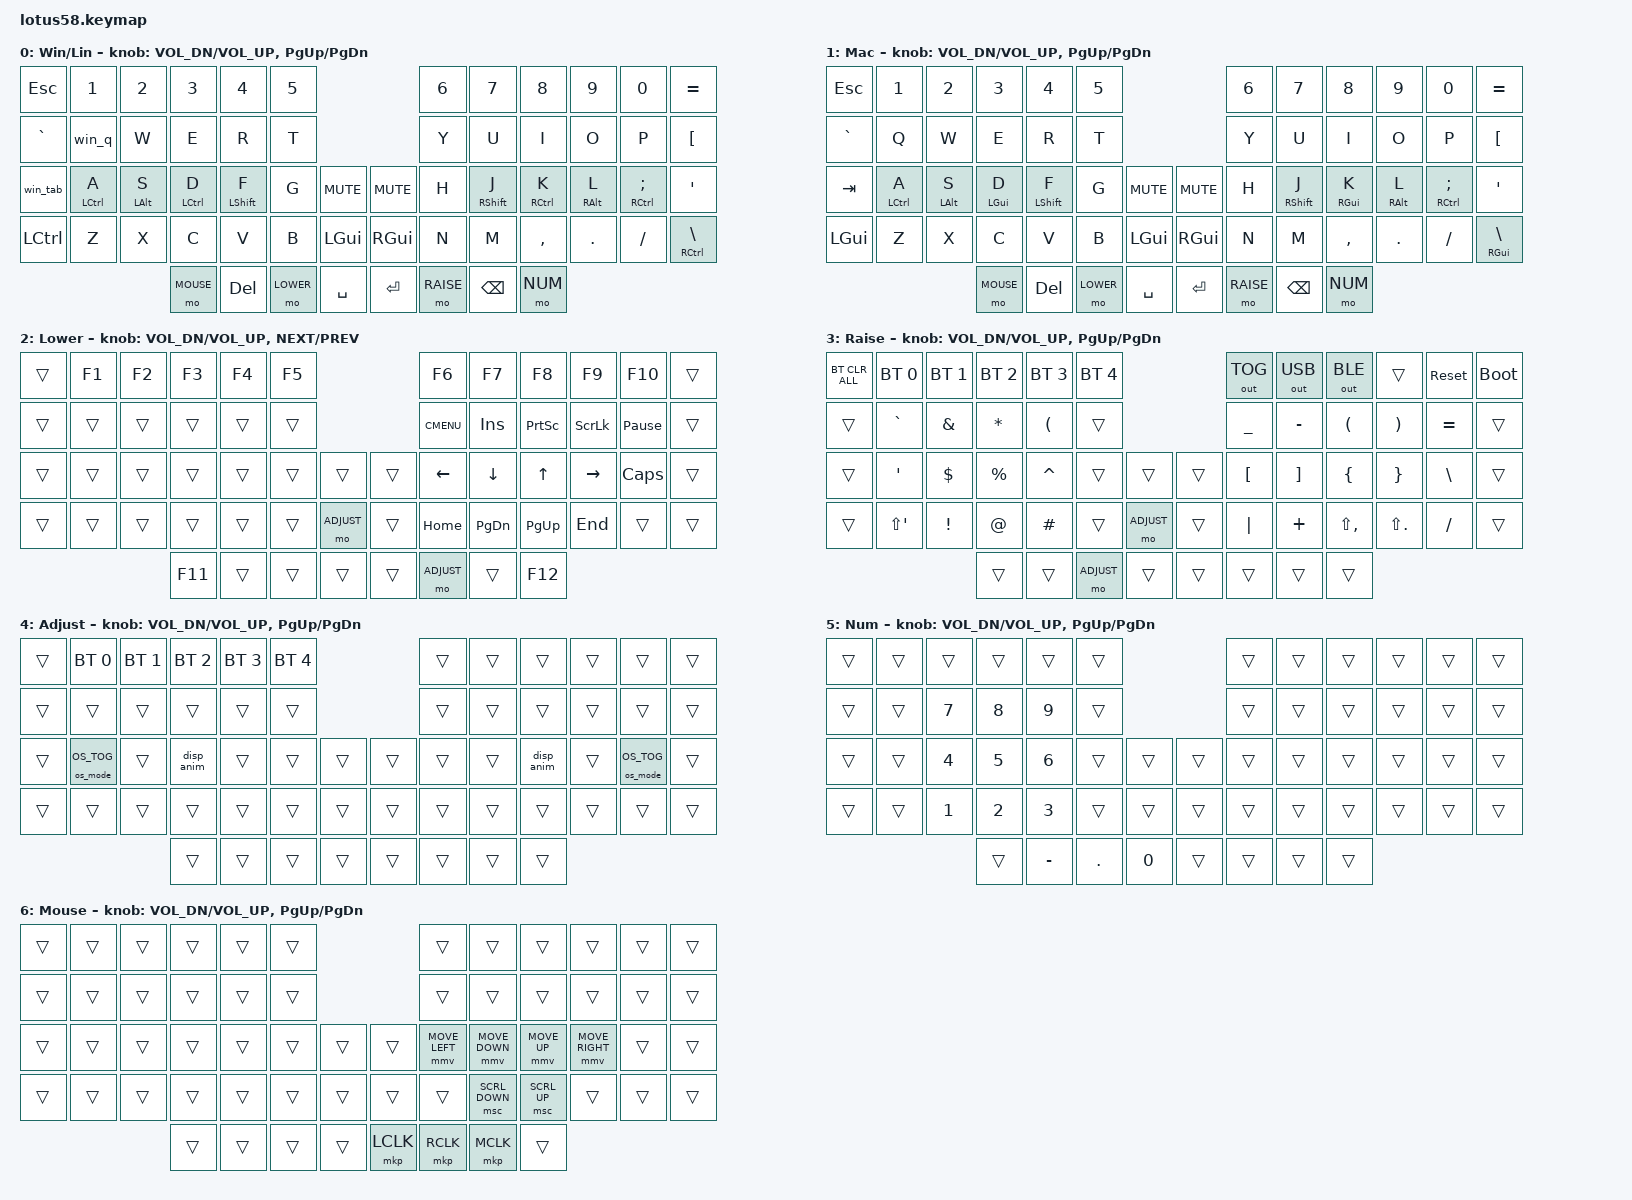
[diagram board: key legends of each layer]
/*
 * Copyright (c) 2022 The ZMK Contributors
 *
 * SPDX-License-Identifier: MIT
 */

#include <behaviors.dtsi>
#include <dt-bindings/zmk/keys.h>
#include <dt-bindings/zmk/bt.h>
#include <dt-bindings/zmk/outputs.h>
#include <dt-bindings/zmk/pointing.h>
#include <dt-bindings/os_mode.h>

#define DEFAULT 0
#define MAC     1
#define LOWER   2
#define RAISE   3
#define ADJUST  4
#define NUM     5
#define MOUSE   6

/ {
    behaviors {
        hml: homerow_mod_left {
            compatible = "zmk,behavior-hold-tap";
            #binding-cells = <2>;
            tapping-term-ms = <200>;
            quick-tap-ms = <125>;
            require-prior-idle-ms = <100>;
            flavor = "balanced";
            hold-trigger-on-release;
            hold-trigger-key-positions = <6 7 8 9 10 11 18 19 20 21 22 23 31 32 33 34 35 36 37 45 46 47 48 49 50 51 52 53 54 55 56 57 58 59>;
            bindings = <&kp>, <&kp>;
        };

        hmr: homerow_mod_right {
            compatible = "zmk,behavior-hold-tap";
            #binding-cells = <2>;
            tapping-term-ms = <200>;
            quick-tap-ms = <125>;
            require-prior-idle-ms = <100>;
            flavor = "balanced";
            hold-trigger-on-release;
            hold-trigger-key-positions = <0 1 2 3 4 5 12 13 14 15 16 17 24 25 26 27 28 29 30 38 39 40 41 42 43 44 52 53 54 55 56 57 58 59>;
            bindings = <&kp>, <&kp>;
        };
    };

    behaviors {
        // Mac/Win mode saved per connection (each BT profile, and USB).
        // The Mac layer follows the active profile automatically, also after a reboot.
        // See src/os_mode.c.
        os_mode: os_mode {
            compatible = "zmk,behavior-os-mode";
            #binding-cells = <1>;
            mac-layer = <MAC>;
        };

        // nice!view animation mode on/off, saved in flash. See src/display_anim.c
        // and nice_view/widgets/anim.c.
        disp_anim: display_anim {
            compatible = "zmk,behavior-display-anim";
            #binding-cells = <0>;
        };

        // Alt+Tab app switcher (zmk-tri-state module, see config/west.yml).
        // First press: Alt down + Tab. Further presses: Tab (Alt stays down).
        // Pressing or releasing any other key (e.g. letting go of K) releases Alt.
        // F and J (Shift) are ignored so Shift+Tab steps backwards.
        alt_tab: alt_tab {
            compatible = "zmk,behavior-tri-state";
            #binding-cells = <0>;
            bindings = <&kt LALT>, <&kp TAB>, <&kt LALT>;
            ignored-key-positions = <28 33>;
        };

        // Win mode Tab (TAB* in the diagram below): with Ctrl held (D/K, the Mac Cmd positions) it becomes the
        // Alt+Tab switcher, matching Cmd+Tab on the Mac. Ctrl is hidden from the host
        // while Tab is sent. Plain Tab is unchanged.
        win_tab: win_tab {
            compatible = "zmk,behavior-mod-morph";
            #binding-cells = <0>;
            bindings = <&kp TAB>, <&alt_tab>;
            mods = <(MOD_LCTL|MOD_RCTL)>;
        };

        // Win mode Q (Q* in the diagram below): Ctrl+Q sends Alt+F4 (close the app),
        // matching Cmd+Q on the Mac. Plain Q is unchanged.
        win_q: win_q {
            compatible = "zmk,behavior-mod-morph";
            #binding-cells = <0>;
            bindings = <&kp Q>, <&kp LA(F4)>;
            mods = <(MOD_LCTL|MOD_RCTL)>;
        };
    };

    keymap {
        compatible = "zmk,keymap";

        default_layer {
            display-name = "Win/Lin";
// ┌─────────┬─────┬─────┬─────┬──────────┬─────┐                            ┌─────┬──────────┬──────────┬──────────┬──────────┬────────┐
// │   ESC   │  1  │  2  │  3  │    4     │  5  │                            │  6  │    7     │    8     │    9     │    0     │   =    │
// ├─────────┼─────┼─────┼─────┼──────────┼─────┤                            ├─────┼──────────┼──────────┼──────────┼──────────┼────────┤
// │    `    │ Q*  │  W  │  E  │    R     │  T  │                            │  Y  │    U     │    I     │    O     │    P     │   [    │
// ├─────────┼─────┼─────┼─────┼──────────┼─────┼──────────┐  ┌─────────────┼─────┼──────────┼──────────┼──────────┼──────────┼────────┤
// │  TAB*   │CTL/A│ALT/S│CTL/D│  SHF/F  │  G  │   MUTE   │  │    MUTE     │  H  │  SHF/J  │  CTL/K  │  ALT/L  │  CTL/;  │   '    │
// ├─────────┼─────┼─────┼─────┼──────────┼─────┼──────────┤  ├─────────────┼─────┼──────────┼──────────┼──────────┼──────────┼────────┤
// │  LCTRL  │  Z  │  X  │  C  │    V     │  B  │   LGUI   │  │    RGUI     │  N  │    M     │    ,     │    .     │    /     │ RCTL/\ │
// └─────────┴─────┴─────┴─────┴──────────┴─────┴──────────┘  └─────────────┴─────┴──────────┴──────────┴──────────┴──────────┴────────┘
//                     ┌──────┬──────┬───────┬────────┐      ┌──────┬───────┬──────┬──────┐
//                     │MOUSE │ DEL  │ LOWER │  SPC   │      │ ENT  │ RAISE │ BSPC │ NUM  │
//                     └──────┴──────┴───────┴────────┘      └──────┴───────┴──────┴──────┘
            bindings = <
&kp ESC    &kp N1        &kp N2       &kp N3        &kp N4        &kp N5                                   &kp N6  &kp N7        &kp N8        &kp N9       &kp N0          &kp EQUAL
&kp GRAVE  &win_q        &kp W        &kp E         &kp R         &kp T                                    &kp Y   &kp U         &kp I         &kp O        &kp P           &kp LBKT
&win_tab   &hml LCTRL A  &hml LALT S  &hml LCTRL D  &hml LSHFT F  &kp G   &kp C_MUTE    &kp C_MUTE        &kp H   &hmr RSHFT J  &hmr RCTRL K  &hmr RALT L  &hmr RCTRL SEMI &kp SQT
&kp LCTRL  &kp Z         &kp X        &kp C         &kp V         &kp B   &kp LGUI       &kp RGUI          &kp N   &kp M         &kp COMMA     &kp DOT      &kp FSLH        &mt RCTRL BSLH
                                       &mo MOUSE &kp DEL   &mo LOWER  &kp SPACE    &kp RET  &mo RAISE  &kp BSPC  &mo NUM
            >;
            sensor-bindings = <&inc_dec_kp C_VOL_DN C_VOL_UP &inc_dec_kp PG_UP PG_DN>;
        };

        mac_layer {
            display-name = "Mac";
// CAGS order: A=Ctl, S=Alt, D=GUI, F=Shft (left); J=Shft, K=GUI, L=Alt, ;=Ctl (right).
// Bottom-left corner: LGUI. Thumbs: LCTRL (was LGUI), RCTRL (was RGUI). Bottom-right mod-tap: RGUI/\.
// ┌─────────┬─────┬─────┬─────┬──────────┬─────┐                            ┌─────┬──────────┬──────────┬──────────┬──────────┬────────┐
// │   ESC   │  1  │  2  │  3  │    4     │  5  │                            │  6  │    7     │    8     │    9     │    0     │   =    │
// ├─────────┼─────┼─────┼─────┼──────────┼─────┤                            ├─────┼──────────┼──────────┼──────────┼──────────┼────────┤
// │    `    │  Q  │  W  │  E  │    R     │  T  │                            │  Y  │    U     │    I     │    O     │    P     │   [    │
// ├─────────┼─────┼─────┼─────┼──────────┼─────┼──────────┐  ┌─────────────┼─────┼──────────┼──────────┼──────────┼──────────┼────────┤
// │   TAB   │CTL/A│ALT/S│GUI/D│  SHF/F  │  G  │   MUTE   │  │    MUTE     │  H  │  SHF/J  │  GUI/K  │  ALT/L  │  CTL/;  │   '    │
// ├─────────┼─────┼─────┼─────┼──────────┼─────┼──────────┤  ├─────────────┼─────┼──────────┼──────────┼──────────┼──────────┼────────┤
// │  LGUI   │  Z  │  X  │  C  │    V     │  B  │   LGUI   │  │    RGUI     │  N  │    M     │    ,     │    .     │    /     │ RGUI/\ │
// └─────────┴─────┴─────┴─────┴──────────┴─────┴──────────┘  └─────────────┴─────┴──────────┴──────────┴──────────┴──────────┴────────┘
//                     ┌───────┬──────┬───────┬────────┐      ┌──────┬───────┬──────┬───────┐
//                     │ MOUSE │ DEL  │ LOWER │  SPC   │      │ ENT  │ RAISE │ BSPC │  NUM  │
//                     └───────┴──────┴───────┴────────┘      └──────┴───────┴──────┴───────┘
            bindings = <
&kp ESC    &kp N1         &kp N2       &kp N3       &kp N4        &kp N5                                   &kp N6  &kp N7        &kp N8       &kp N9       &kp N0           &kp EQUAL
&kp GRAVE  &kp Q          &kp W        &kp E        &kp R         &kp T                                    &kp Y   &kp U         &kp I        &kp O        &kp P            &kp LBKT
&kp TAB    &hml LCTRL A   &hml LALT S  &hml LGUI D  &hml LSHFT F  &kp G   &kp C_MUTE    &kp C_MUTE        &kp H   &hmr RSHFT J  &hmr RGUI K  &hmr RALT L  &hmr RCTRL SEMI  &kp SQT
&kp LGUI   &kp Z          &kp X        &kp C        &kp V         &kp B   &kp LGUI       &kp RGUI          &kp N   &kp M         &kp COMMA    &kp DOT      &kp FSLH         &mt RGUI BSLH
                                        &mo MOUSE  &kp DEL   &mo LOWER  &kp SPACE    &kp RET  &mo RAISE  &kp BSPC  &mo NUM
            >;
            sensor-bindings = <&inc_dec_kp C_VOL_DN C_VOL_UP &inc_dec_kp PG_UP PG_DN>;
        };

        lower_layer {
            display-name = "Lower";
// Left side transparent (falls through to default alpha keys).
// Right side: HJKL arrows on home row, Home/PgDn/PgUp/End on Z row.
// ┌─────────┬─────┬─────┬─────┬─────┬─────┐                            ┌───────┬──────┬───────┬──────┬───────┬────────┐
// │         │  F1 │  F2 │  F3 │  F4 │  F5 │                            │  F6   │  F7  │  F8   │  F9  │  F10  │        │
// ├─────────┼─────┼─────┼─────┼─────┼─────┤                            ├───────┼──────┼───────┼──────┼───────┼────────┤
// │         │     │     │     │     │     │                            │ MENU  │ INS  │ PSCR  │ SLCK │ PAUSE │        │
// ├─────────┼─────┼─────┼─────┼─────┼─────┼──────────┐  ┌─────────────┼───────┼──────┼───────┼──────┼───────┼────────┤
// │         │     │     │     │     │     │          │  │             │  ←    │  ↓   │   ↑   │  →   │ CAPS  │        │
// ├─────────┼─────┼─────┼─────┼─────┼─────┼──────────┤  ├─────────────┼───────┼──────┼───────┼──────┼───────┼────────┤
// │         │     │     │     │     │     │  ADJUST  │  │             │ HOME  │ PG↓  │  PG↑  │ END  │       │        │
// └─────────┴─────┴─────┴─────┴─────┴─────┴──────────┘  └─────────────┴───────┴──────┴───────┴──────┴───────┴────────┘
//                     ┌──────┬──────┬───────┬────────┐      ┌──────┬────────┬──────┬──────┐
//                     │  F11 │      │▓▓▓▓▓▓▓│        │      │      │ ADJUST │      │  F12 │
//                     └──────┴──────┴───────┴────────┘      └──────┴────────┴──────┴──────┘
            bindings = <
&trans  &kp F1  &kp F2  &kp F3  &kp F4  &kp F5                          &kp F6       &kp F7    &kp F8     &kp F9    &kp F10         &trans
&trans  &trans  &trans  &trans  &trans  &trans                           &kp K_CMENU  &kp INS   &kp PSCRN  &kp SLCK  &kp PAUSE_BREAK &trans
&trans  &trans  &trans  &trans  &trans  &trans   &trans      &trans      &kp LEFT     &kp DOWN  &kp UP     &kp RIGHT &kp CLCK        &trans
&trans  &trans  &trans  &trans  &trans  &trans   &mo ADJUST  &trans      &kp HOME     &kp PG_DN &kp PG_UP  &kp END   &trans          &trans
                        &kp F11 &trans  &trans   &trans      &trans      &mo ADJUST   &trans    &kp F12
            >;
            sensor-bindings = <&inc_dec_kp C_VOL_DN C_VOL_UP &inc_dec_kp C_NEXT C_PREV>;
        };

        raise_layer {
            display-name = "Raise";
// Symbols verbatim from hillside Layer 2. Left = ` & * ( / ' $ % ^ / " ! @ #
//                                         Right = _ - ( ) = / [ ] { } \ / | + < > /
// BT and system on number row.
// ┌───────────┬───────┬───────┬───────┬───────┬───────┐                         ┌─────────┬────────┬────────┬──────┬────────┬──────────┐
// │  BT CLR   │  BT1  │  BT2  │  BT3  │  BT4  │  BT5  │                         │ OUT TOG │OUT USB │OUT BLE │      │ RESET  │  FLASH   │
// ├───────────┼───────┼───────┼───────┼───────┼───────┤                         ├─────────┼────────┼────────┼──────┼────────┼──────────┤
// │           │   `   │   &   │   *   │   (   │       │                         │    _    │   -    │   (    │  )   │   =    │          │
// ├───────────┼───────┼───────┼───────┼───────┼───────┼──────────┐ ┌────────────┼─────────┼────────┼────────┼──────┼────────┼──────────┤
// │           │   '   │   $   │   %   │   ^   │       │          │ │            │    [    │   ]    │   {    │  }   │   \    │          │
// ├───────────┼───────┼───────┼───────┼───────┼───────┼──────────┤ ├────────────┼─────────┼────────┼────────┼──────┼────────┼──────────┤
// │           │   "   │   !   │   @   │   #   │       │  ADJUST  │ │            │    |    │   +    │   <    │  >   │   /    │          │
// └───────────┴───────┴───────┴───────┴───────┴───────┴──────────┘ └────────────┴─────────┴────────┴────────┴──────┴────────┴──────────┘
//                         ┌──────┬──────┬────────┬──────┐      ┌──────┬──────┬──────┬──────┐
//                         │      │      │ ADJUST │      │      │      │▓▓▓▓▓▓│      │      │
//                         └──────┴──────┴────────┴──────┘      └──────┴──────┴──────┴──────┘
            bindings = <
&bt BT_CLR_ALL &bt BT_SEL 0 &bt BT_SEL 1 &bt BT_SEL 2 &bt BT_SEL 3 &bt BT_SEL 4                      &out OUT_TOG &out OUT_USB &out OUT_BLE &trans      &sys_reset  &bootloader
&trans         &kp GRAVE    &kp AMPS     &kp STAR     &kp LPAR     &trans                              &kp UNDER    &kp MINUS    &kp LPAR     &kp RPAR    &kp EQUAL   &trans
&trans         &kp SQT      &kp DLLR     &kp PRCNT    &kp CARET    &trans   &trans       &trans        &kp LBKT     &kp RBKT     &kp LBRC     &kp RBRC    &kp BSLH    &trans
&trans         &kp LS(SQT)  &kp EXCL     &kp AT       &kp HASH     &trans   &mo ADJUST   &trans        &kp PIPE     &kp PLUS     &kp LS(COMMA) &kp LS(DOT) &kp FSLH  &trans
                                         &trans       &trans       &mo ADJUST &trans     &trans        &trans       &trans       &trans
            >;
            sensor-bindings = <&inc_dec_kp C_VOL_DN C_VOL_UP &inc_dec_kp PG_UP PG_DN>;
        };

        adjust_layer {
            display-name = "Adjust";
// Top row: BT profiles 1-5 (ZMK's BT_SEL 0-4). Each profile remembers its own Mac/Win mode.
// OS on A and ; (the GUI home-row keys): flip the current profile between Mac and Win mods.
// The choice is written to flash 60 s after the press (ZMK's settings save delay), so
// wait a minute before powering off.
// Mouse keys live on the Mouse layer (left outer thumb).
// ┌─────────┬──────────┬──────────┬──────────┬──────────┬───────┐                         ┌───────┬───────┬───────┬───────┬───────┬───────┐
// │         │   BT1    │   BT2    │   BT3    │   BT4    │  BT5  │                         │       │       │       │       │       │       │
// ├─────────┼──────────┼──────────┼──────────┼──────────┼───────┤                         ├───────┼───────┼───────┼───────┼───────┼───────┤
// │         │          │          │          │          │       │                         │       │       │       │       │       │       │
// ├─────────┼──────────┼──────────┼──────────┼──────────┼───────┼──────────┐ ┌────────────┼───────┼───────┼───────┼───────┼───────┼───────┤
// │         │    OS    │          │   Anim   │          │       │          │ │            │       │       │ Anim  │       │  OS   │       │
// ├─────────┼──────────┼──────────┼──────────┼──────────┼───────┼──────────┤ ├────────────┼───────┼───────┼───────┼───────┼───────┼───────┤
// │         │          │          │          │          │       │          │ │            │       │       │       │       │       │       │
// └─────────┴──────────┴──────────┴──────────┴──────────┴───────┴──────────┘ └────────────┴───────┴───────┴───────┴───────┴───────┴───────┘
//                           ┌────────┬─────────┬───────┬───────┐      ┌───────┬───────┬───────┬───────┐
//                           │        │         │       │       │      │       │       │       │       │
//                           └────────┴─────────┴───────┴───────┘      └───────┴───────┴───────┴───────┘
            bindings = <
&trans  &bt BT_SEL 0     &bt BT_SEL 1  &bt BT_SEL 2  &bt BT_SEL 3  &bt BT_SEL 4                     &trans  &trans  &trans  &trans  &trans           &trans
&trans  &trans           &trans        &trans        &trans        &trans                           &trans  &trans  &trans  &trans  &trans           &trans
&trans  &os_mode OS_TOG  &trans        &disp_anim    &trans        &trans        &trans  &trans     &trans  &trans  &disp_anim  &trans  &os_mode OS_TOG  &trans
&trans  &trans           &trans        &trans        &trans        &trans        &trans  &trans     &trans  &trans  &trans  &trans  &trans           &trans
                                       &trans        &trans        &trans        &trans  &trans     &trans  &trans  &trans
            >;
            sensor-bindings = <&inc_dec_kp C_VOL_DN C_VOL_UP &inc_dec_kp PG_UP PG_DN>;
        };

        num_layer {
            display-name = "Num";
// Hold the right outer thumb. Left hand is a numpad (Miryoku style: layer on one
// hand, keys on the other). Shift + digit still gives the usual symbol.
// Number row stays as-is for now.
// ┌─────────┬─────┬─────┬─────┬─────┬─────┐                            ┌─────┬─────┬─────┬─────┬─────┬─────┐
// │         │     │     │     │     │     │                            │     │     │     │     │     │     │
// ├─────────┼─────┼─────┼─────┼─────┼─────┤                            ├─────┼─────┼─────┼─────┼─────┼─────┤
// │         │     │  7  │  8  │  9  │     │                            │     │     │     │     │     │     │
// ├─────────┼─────┼─────┼─────┼─────┼─────┼──────────┐  ┌─────────────┼─────┼─────┼─────┼─────┼─────┼─────┤
// │         │     │  4  │  5  │  6  │     │          │  │             │     │     │     │     │     │     │
// ├─────────┼─────┼─────┼─────┼─────┼─────┼──────────┤  ├─────────────┼─────┼─────┼─────┼─────┼─────┼─────┤
// │         │     │  1  │  2  │  3  │     │          │  │             │     │     │     │     │     │     │
// └─────────┴─────┴─────┴─────┴─────┴─────┴──────────┘  └─────────────┴─────┴─────┴─────┴─────┴─────┴─────┘
//                     ┌──────┬──────┬───────┬────────┐      ┌──────┬───────┬──────┬──────┐
//                     │      │  -   │   .   │   0    │      │      │       │      │▓▓▓▓▓▓│
//                     └──────┴──────┴───────┴────────┘      └──────┴───────┴──────┴──────┘
            bindings = <
&trans  &trans  &trans  &trans  &trans  &trans                                &trans  &trans  &trans  &trans  &trans  &trans
&trans  &trans  &kp N7  &kp N8  &kp N9  &trans                                &trans  &trans  &trans  &trans  &trans  &trans
&trans  &trans  &kp N4  &kp N5  &kp N6  &trans  &trans          &trans        &trans  &trans  &trans  &trans  &trans  &trans
&trans  &trans  &kp N1  &kp N2  &kp N3  &trans  &trans          &trans        &trans  &trans  &trans  &trans  &trans  &trans
                        &trans  &kp MINUS  &kp DOT  &kp N0      &trans  &trans  &trans  &trans
            >;
            sensor-bindings = <&inc_dec_kp C_VOL_DN C_VOL_UP &inc_dec_kp PG_UP PG_DN>;
        };

        mouse_layer {
            display-name = "Mouse";
// Hold the left outer thumb. Right hand moves the mouse (Miryoku style): movement on
// H J K L like the Lower arrows, scroll on M , like Lower PgDn/PgUp, buttons on the
// right thumbs.
// ┌─────────┬─────┬─────┬─────┬─────┬─────┐                            ┌───────┬───────┬───────┬───────┬─────┬─────┐
// │         │     │     │     │     │     │                            │       │       │       │       │     │     │
// ├─────────┼─────┼─────┼─────┼─────┼─────┤                            ├───────┼───────┼───────┼───────┼─────┼─────┤
// │         │     │     │     │     │     │                            │       │       │       │       │     │     │
// ├─────────┼─────┼─────┼─────┼─────┼─────┼──────────┐  ┌─────────────┼───────┼───────┼───────┼───────┼─────┼─────┤
// │         │     │     │     │     │     │          │  │             │MOUSE← │MOUSE↓ │MOUSE↑ │MOUSE→ │     │     │
// ├─────────┼─────┼─────┼─────┼─────┼─────┼──────────┤  ├─────────────┼───────┼───────┼───────┼───────┼─────┼─────┤
// │         │     │     │     │     │     │          │  │             │       │ SCR↓  │ SCR↑  │       │     │     │
// └─────────┴─────┴─────┴─────┴─────┴─────┴──────────┘  └─────────────┴───────┴───────┴───────┴───────┴─────┴─────┘
//                     ┌──────┬──────┬───────┬────────┐      ┌────────┬────────┬────────┬──────┐
//                     │▓▓▓▓▓▓│      │       │        │      │L CLICK │R CLICK │M CLICK │      │
//                     └──────┴──────┴───────┴────────┘      └────────┴────────┴────────┴──────┘
            bindings = <
&trans  &trans  &trans  &trans  &trans  &trans                                &trans          &trans          &trans        &trans           &trans  &trans
&trans  &trans  &trans  &trans  &trans  &trans                                &trans          &trans          &trans        &trans           &trans  &trans
&trans  &trans  &trans  &trans  &trans  &trans  &trans          &trans        &mmv MOVE_LEFT  &mmv MOVE_DOWN  &mmv MOVE_UP  &mmv MOVE_RIGHT  &trans  &trans
&trans  &trans  &trans  &trans  &trans  &trans  &trans          &trans        &trans          &msc SCRL_DOWN  &msc SCRL_UP  &trans           &trans  &trans
                        &trans  &trans  &trans  &trans          &mkp LCLK  &mkp RCLK  &mkp MCLK  &trans
            >;
            sensor-bindings = <&inc_dec_kp C_VOL_DN C_VOL_UP &inc_dec_kp PG_UP PG_DN>;
        };
    };
};
